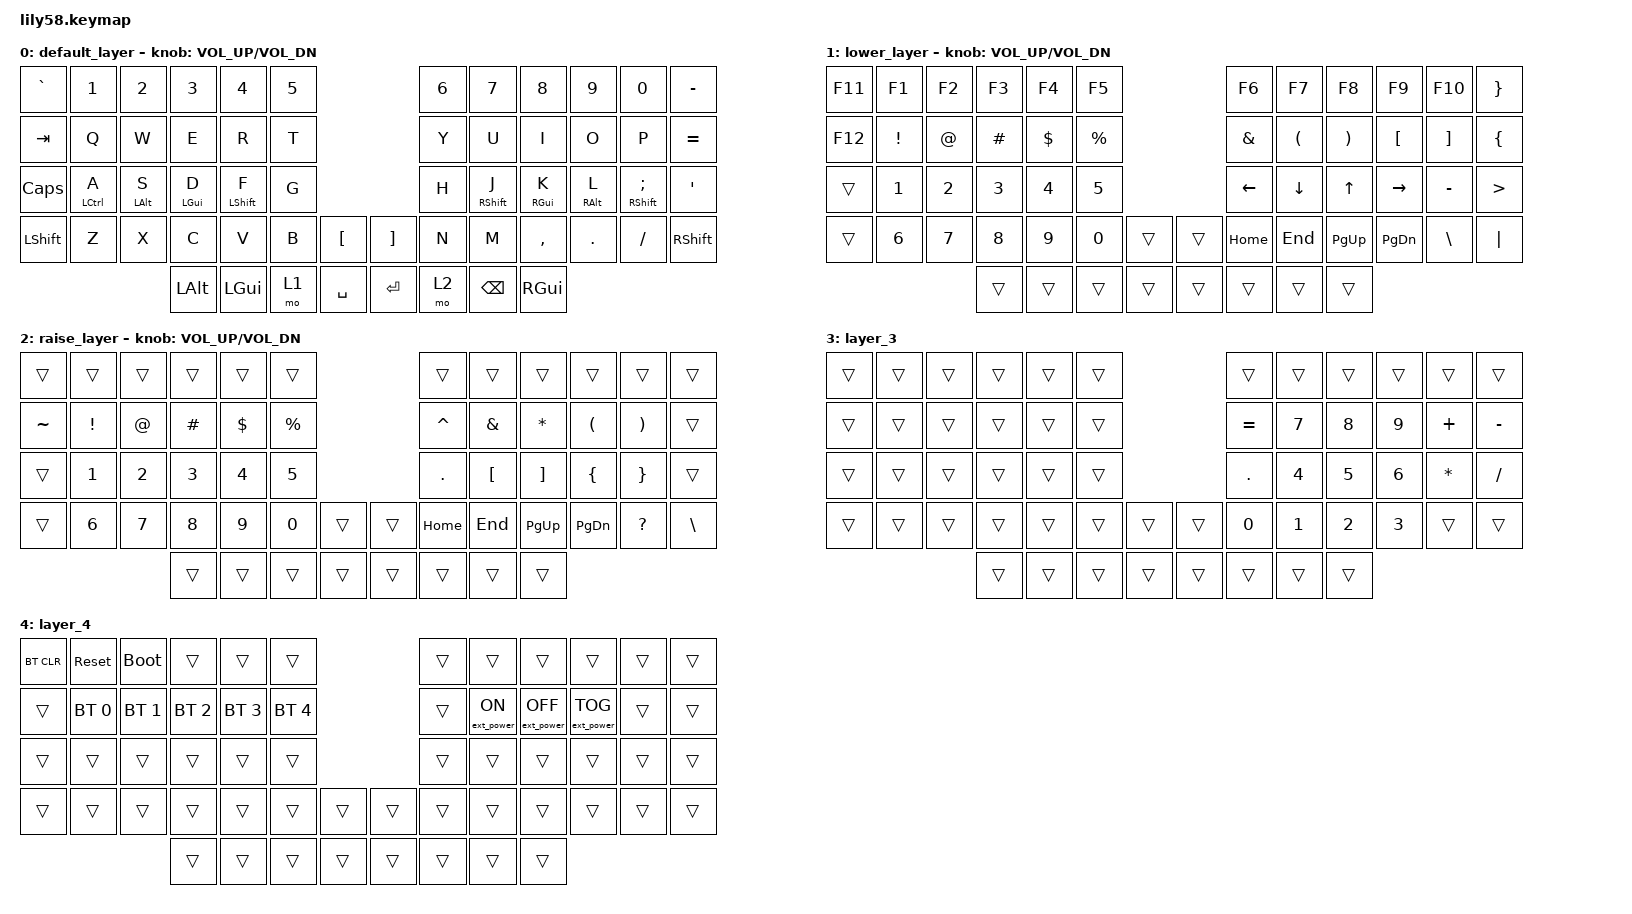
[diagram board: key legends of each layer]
/*
 * Copyright (c) 2020 The ZMK Contributors
 *
 * SPDX-License-Identifier: MIT
 */

#include <behaviors.dtsi>
#include <dt-bindings/zmk/bt.h>
#include <dt-bindings/zmk/ext_power.h>
#include <dt-bindings/zmk/keys.h>

/ {
    keymap {
        compatible = "zmk,keymap";

        default_layer {
            // ------------------------------------------------------------------------------------------------------------
            // |  ESC  |  1  |  2  |  3   |  4   |  5   |                   |  6   |  7    |  8    |  9   |   0   |   `   |
            // |  TAB  |  Q  |  W  |  E   |  R   |  T   |                   |  Y   |  U    |  I    |  O   |   P   |   -   |
            // |  CTRL |  A  |  S  |  D   |  F   |  G   |                   |  H   |  J    |  K    |  L   |   ;   |   '   |
            // | SHIFT |  Z  |  X  |  C   |  V   |  B   |   "["  |  |  "]"  |  N   |  M    |  ,    |  .   |   /   | SHIFT |
            //                     | ALT  | GUI  | LOWER|  SPACE |  | ENTER | RAISE| BSPC  | GUI   |

            bindings = <
&kp GRAVE     &kp N1              &kp N2          &kp N3          &kp N4            &kp N5                         &kp N6  &kp N7             &kp N8           &kp N9           &kp N0                     &kp MINUS
&kp TAB       &kp Q               &kp W           &kp E           &kp R             &kp T                          &kp Y   &kp U              &kp I            &kp O            &kp P                      &kp EQUAL
&kp CAPSLOCK  &mt LEFT_CONTROL A  &mt LEFT_ALT S  &mt LEFT_GUI D  &mt LEFT_SHIFT F  &kp G                          &kp H   &mt RIGHT_SHIFT J  &mt RIGHT_GUI K  &mt RIGHT_ALT L  &mt RIGHT_SHIFT SEMICOLON  &kp SQT
&kp LSHFT     &kp Z               &kp X           &kp C           &kp V             &kp B   &kp LBKT     &kp RBKT  &kp N   &kp M              &kp COMMA        &kp DOT          &kp FSLH                   &kp RSHFT
                                                  &kp LALT        &kp LGUI          &mo 1   &kp SPACE    &kp RET   &mo 2   &kp BSPC           &kp RGUI
            >;

            sensor-bindings = <&inc_dec_kp C_VOL_UP C_VOL_DN>;
        };

        lower_layer {
            // ------------------------------------------------------------------------------------------------------------
            // | BTCLR | BT1 | BT2 |  BT3 |  BT4 |  BT5 |                   |      |       |       |      |       |       |
            // |  F1   |  F2 |  F3 |  F4  |  F5  |  F6  |                   |  F7  |  F8   |  F9   |  F10 |  F11  |  F12  |
            // |   `   |  !  |  @  |  #   |  $   |  %   |                   |  ^   |  &    |  *    |  (   |   )   |   ~   |
            // |       |     |     |      |      |      |        |  |       |      |  _    |  +    |  {   |   }   |  "|"  |
            //                     |      |      |      |        |  |       |      |       |       |

            bindings = <
&kp F11  &kp F1           &kp F2       &kp F3    &kp F4      &kp F5                         &kp F6          &kp F7                &kp F8                 &kp F9            &kp F10            &kp RIGHT_BRACE
&kp F12  &kp EXCLAMATION  &kp AT_SIGN  &kp HASH  &kp DOLLAR  &kp PERCENT                    &kp AMPERSAND   &kp LEFT_PARENTHESIS  &kp RIGHT_PARENTHESIS  &kp LEFT_BRACKET  &kp RIGHT_BRACKET  &kp LEFT_BRACE
&trans   &kp N1           &kp N2       &kp N3    &kp N4      &kp N5                         &kp LEFT_ARROW  &kp DOWN_ARROW        &kp UP_ARROW           &kp RIGHT_ARROW   &kp MINUS          &kp GREATER_THAN
&trans   &kp N6           &kp N7       &kp N8    &kp N9      &kp N0       &trans    &trans  &kp HOME        &kp END               &kp PAGE_UP            &kp PAGE_DOWN     &kp BACKSLASH      &kp PIPE
                                       &trans    &trans      &trans       &trans    &trans  &trans          &trans                &trans
            >;

            sensor-bindings = <&inc_dec_kp C_VOL_UP C_VOL_DN>;
        };

        raise_layer {
            // ------------------------------------------------------------------------------------------------------------
            // |       |     |     |      |      |      |                   |      |       |       |      |       |       |
            // |   `   |  1  |  2  |  3   |  4   |  5   |                   |  6   |   7   |   8   |  9   |   0   |       |
            // |   F1  |  F2 |  F3 |  F4  |  F5  |  F6  |                   |      |   <-  |   v   |  ^   |  ->   |       |
            // |   F7  |  F8 |  F9 |  F10 |  F11 |  F12 |        |  |       |  +   |   -   |   =   |  [   |   ]   |   \   |
            //                     |      |      |      |        |  |       |      |       |       |

            bindings = <
&trans     &trans           &trans       &trans    &trans      &trans                         &trans     &trans            &trans             &trans                &trans                 &trans
&kp TILDE  &kp EXCLAMATION  &kp AT_SIGN  &kp HASH  &kp DOLLAR  &kp PERCENT                    &kp CARET  &kp AMPERSAND     &kp ASTERISK       &kp LEFT_PARENTHESIS  &kp RIGHT_PARENTHESIS  &trans
&trans     &kp N1           &kp N2       &kp N3    &kp N4      &kp N5                         &kp DOT    &kp LEFT_BRACKET  &kp RIGHT_BRACKET  &kp LEFT_BRACE        &kp RIGHT_BRACE        &trans
&trans     &kp N6           &kp N7       &kp N8    &kp N9      &kp N0       &trans    &trans  &kp HOME   &kp END           &kp PAGE_UP        &kp PAGE_DOWN         &kp QUESTION           &kp BSLH
                                         &trans    &trans      &trans       &trans    &trans  &trans     &trans            &trans
            >;

            sensor-bindings = <&inc_dec_kp C_VOL_UP C_VOL_DN>;
        };

        layer_3 {
            bindings = <
&trans  &trans  &trans  &trans  &trans  &trans                    &trans     &trans  &trans  &trans  &trans        &trans
&trans  &trans  &trans  &trans  &trans  &trans                    &kp EQUAL  &kp N7  &kp N8  &kp N9  &kp PLUS      &kp MINUS
&trans  &trans  &trans  &trans  &trans  &trans                    &kp DOT    &kp N4  &kp N5  &kp N6  &kp ASTERISK  &kp SLASH
&trans  &trans  &trans  &trans  &trans  &trans  &trans    &trans  &kp N0     &kp N1  &kp N2  &kp N3  &trans        &trans
                        &trans  &trans  &trans  &trans    &trans  &trans     &trans  &trans
            >;
        };

        layer_4 {
            bindings = <
&bt BT_CLR  &sys_reset    &bootloader   &trans        &trans        &trans                          &trans  &trans            &trans             &trans             &trans  &trans
&trans      &bt BT_SEL 0  &bt BT_SEL 1  &bt BT_SEL 2  &bt BT_SEL 3  &bt BT_SEL 4                    &trans  &ext_power EP_ON  &ext_power EP_OFF  &ext_power EP_TOG  &trans  &trans
&trans      &trans        &trans        &trans        &trans        &trans                          &trans  &trans            &trans             &trans             &trans  &trans
&trans      &trans        &trans        &trans        &trans        &trans        &trans    &trans  &trans  &trans            &trans             &trans             &trans  &trans
                                        &trans        &trans        &trans        &trans    &trans  &trans  &trans            &trans
            >;
        };
    };
};
